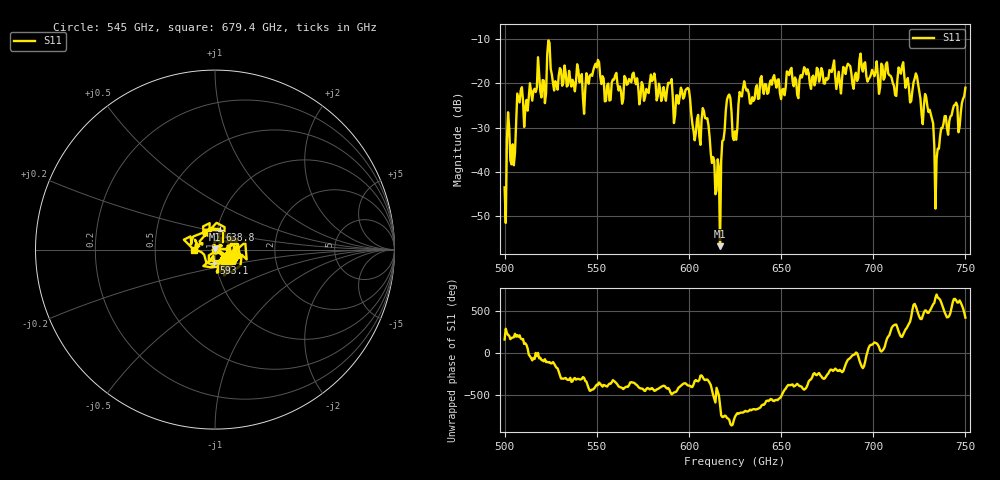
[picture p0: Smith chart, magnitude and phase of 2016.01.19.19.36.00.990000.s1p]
!Created with skrf (http://scikit-rf.org).
# GHz S RI R 50.0
!freq ReS11 ImS11
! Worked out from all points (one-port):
!   401 points, 500 GHz to 750 GHz, reference 50 ohm
!   lowest |S11| = -56.7 dB at 616.9 GHz (marker M1), VSWR 1.00, Z = 49.9 + j0.137 ohm
!   |S11| at or under -10 dB: start of sweep to end of sweep
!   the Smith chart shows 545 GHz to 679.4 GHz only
!   S11 on the Smith chart (normalised r, x): 545 GHz: 1.25, -0.08; 593.1 GHz: 0.98, -0.14; 638.8 GHz: 1.03, +0.23; 679.4 GHz: 0.79, +0.00
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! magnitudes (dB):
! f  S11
! 500 GHz  -43.4
! 502.5 GHz  -30.1
! 504.4 GHz  -33.7
! 508.1 GHz  -24.3
! 521.2 GHz  -19.3
! 524.4 GHz  -10.8
! 527.5 GHz  -19.5
! 531.2 GHz  -20.5
! 545 GHz  -18.7
! 562.5 GHz  -20.6
! 580.6 GHz  -19.0
! 593.1 GHz  -22.7
! 593.8 GHz  -22.7
! 608.8 GHz  -27.8
! 615.6 GHz  -37.1
! 616.9 GHz  -56.7
! 621.2 GHz  -22.9
! 625 GHz  -30.8
! 628.8 GHz  -22.9
! 638.8 GHz  -18.9
! 656.2 GHz  -19.5
! 679.4 GHz  -18.5
! 687.5 GHz  -16.1
! 718.8 GHz  -18.8
! 729.4 GHz  -25.1
! 734.4 GHz  -37.0
! 738.1 GHz  -29.1
! 750 GHz  -20.9
